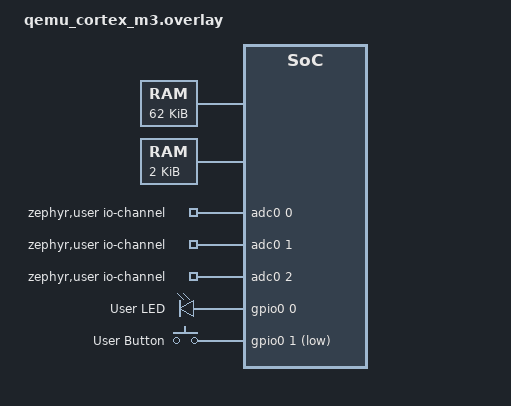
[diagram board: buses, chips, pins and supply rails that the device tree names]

#include <zephyr/dt-bindings/gpio/gpio.h>
#include <zephyr/dt-bindings/input/input-event-codes.h>

#include <dt-bindings/pwm/pwm.h>

/ {
    chosen {
        zephyr,code-partition = &app_partition;
    };

    sram0: memory@20000000 {
        reg = < 0x20000000 0xf800 >;
    };

    retained_mem: memory@2000f800 {
        compatible = "zephyr,memory-region", "mmio-sram";
        reg = <0x2000f800 0x800>;
        zephyr,memory-region = "retained";
        status = "okay";

        retainedmem {
            compatible = "zephyr,retained-ram";
            status = "okay";
            #address-cells = <1>;
            #size-cells = <1>;

            boot_info0: boot_info@0 {
                compatible = "zephyr,retention";
                status = "okay";
                reg = <0x0 0x400>;

                prefix = [08 04];
                checksum = <1>;
            };

            sys_info0: sys_info@400 {
                compatible = "zephyr,retention";
                status = "okay";
                reg = <0x400 0x400>;
            };
        };
    };

    adc0: adc@40001000 {
        compatible = "zephyr,adc-emul";
        reg = <0x40001000 0x1000>;
        #address-cells = <1>;
        #size-cells = <0>;
        #io-channel-cells = <1>;
        status = "";
        nchannels = <3>;

        status = "disabled";
    };

    zephyr,user {
        io-channels = <&adc0 0>, <&adc0 1>, <&adc0 2>;
    };

    dummy_i2c: dummy_i2c {
        /* 使用虛擬設備兼容字串，這會讓 Zephyr 生成一個空的設備實例 */
        compatible = "vnd,device"; 
        status = "disabled"; // 必須是 okay，DEVICE_DT_GET 才抓得到
    };

    aliases {
        led0 = &led0;
        wk-btn = &button0;

        pw-limit-i2c = &dummy_i2c;
        acpi-i2c = &dummy_i2c;
        sen-i2c = &dummy_i2c;
    };

    leds {
		compatible = "gpio-leds";
		led0: led_0 {
			gpios = <&gpio0 0 GPIO_ACTIVE_HIGH>;
			label = "User LED";
		};
	};

	buttons {
		compatible = "gpio-keys";
		button0: button_0 {
			gpios = <&gpio0 1 (GPIO_PULL_UP | GPIO_ACTIVE_LOW)>;
			label = "User Button";
		};
	};

};

&flash0 {
    partitions {
        compatible = "fixed-partitions";
        #address-cells = <1>;
        #size-cells = <1>;

        boot_partition: partition@0 {
            label = "bootloader";
            reg = <0x00000000 0x20000>;
        };
        app_partition: partition@20000 {
            label = "app";
            reg = <0x20000 0x20000>;
        };
    };
};
